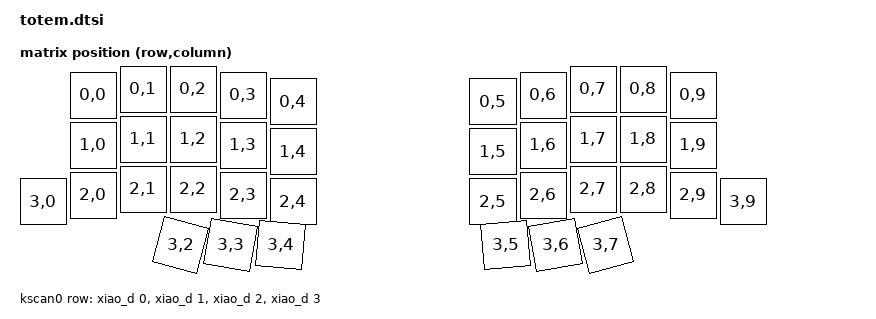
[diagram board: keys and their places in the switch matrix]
/*
 * Copyright (c) 2022 The ZMK Contributors
 *
 * SPDX-License-Identifier: MIT
 */

#include <dt-bindings/zmk/matrix_transform.h>
#include <physical_layouts.dtsi>

/ {
    chosen {
        zmk,kscan = &kscan0;
        zmk,physical-layout = &physical_layout0;
    };

    wired_split: wired_split {
        compatible = "zmk,wired-split";
        device = <&xiao_serial>;
        half-duplex;
    };

    default_transform: keymap_transform_0 {
        compatible = "zmk,matrix-transform";
        columns = <10>;
        rows = <4>;
//             | SW01  | SW02  | SW03  | SW04  | SW05  |  | SW05  | SW04  | SW03  | SW02  | SW01  |
//             | SW06  | SW07  | SW08  | SW09  | SW10  |  | SW10  | SW09  | SW08  | SW07  | SW06  | 
//      | SW16 | SW11  | SW12  | SW13  | SW14  | SW15  |  | SW15  | SW14  | SW13  | SW12  | SW11  | SW16  |
//                             | SW17  | SW18  | SW19  |  | SW19  | SW18  | SW17  | 
        map = <
                RC(0,0) RC(0,1) RC(0,2) RC(0,3) RC(0,4)    RC(0,5) RC(0,6) RC(0,7) RC(0,8) RC(0,9)
                RC(1,0) RC(1,1) RC(1,2) RC(1,3) RC(1,4)    RC(1,5) RC(1,6) RC(1,7) RC(1,8) RC(1,9)
        RC(3,0) RC(2,0) RC(2,1) RC(2,2) RC(2,3) RC(2,4)    RC(2,5) RC(2,6) RC(2,7) RC(2,8) RC(2,9) RC(3,9)
                                RC(3,2) RC(3,3) RC(3,4)    RC(3,5) RC(3,6) RC(3,7)         
        >;
    };

    /*
     * Physical layout for ZMK Studio support.
     * TOTEM 38-key layout with columnar stagger.
     * Coordinates in centi-units (100 = 1 key width).
     *
     *         0    1    2    3    4         5    6    7    8    9       (row 0)
     *        10   11   12   13   14       15   16   17   18   19       (row 1)
     *  20    21   22   23   24   25       26   27   28   29   30   31  (row 2)
     *                  32   33   34       35   36   37                  (row 3)
     */
    physical_layout0: physical_layout_0 {
        compatible = "zmk,physical-layout";
        display-name = "TOTEM";
        transform = <&default_transform>;
        kscan = <&kscan0>;

        keys  //                     w   h    x    y     rot    rx    ry
            // Row 0 left
            = <&key_physical_attrs 100 100  100   12       0     0     0>
            , <&key_physical_attrs 100 100  200    0       0     0     0>
            , <&key_physical_attrs 100 100  300    0       0     0     0>
            , <&key_physical_attrs 100 100  400   12       0     0     0>
            , <&key_physical_attrs 100 100  500   25       0     0     0>
            // Row 0 right
            , <&key_physical_attrs 100 100  900   25       0     0     0>
            , <&key_physical_attrs 100 100 1000   12       0     0     0>
            , <&key_physical_attrs 100 100 1100    0       0     0     0>
            , <&key_physical_attrs 100 100 1200    0       0     0     0>
            , <&key_physical_attrs 100 100 1300   12       0     0     0>
            // Row 1 left
            , <&key_physical_attrs 100 100  100  112       0     0     0>
            , <&key_physical_attrs 100 100  200  100       0     0     0>
            , <&key_physical_attrs 100 100  300  100       0     0     0>
            , <&key_physical_attrs 100 100  400  112       0     0     0>
            , <&key_physical_attrs 100 100  500  125       0     0     0>
            // Row 1 right
            , <&key_physical_attrs 100 100  900  125       0     0     0>
            , <&key_physical_attrs 100 100 1000  112       0     0     0>
            , <&key_physical_attrs 100 100 1100  100       0     0     0>
            , <&key_physical_attrs 100 100 1200  100       0     0     0>
            , <&key_physical_attrs 100 100 1300  112       0     0     0>
            // Row 2 left (LX0 + 5 keys)
            , <&key_physical_attrs 100 100    0  225       0     0     0>
            , <&key_physical_attrs 100 100  100  212       0     0     0>
            , <&key_physical_attrs 100 100  200  200       0     0     0>
            , <&key_physical_attrs 100 100  300  200       0     0     0>
            , <&key_physical_attrs 100 100  400  212       0     0     0>
            , <&key_physical_attrs 100 100  500  225       0     0     0>
            // Row 2 right (5 keys + RX0)
            , <&key_physical_attrs 100 100  900  225       0     0     0>
            , <&key_physical_attrs 100 100 1000  212       0     0     0>
            , <&key_physical_attrs 100 100 1100  200       0     0     0>
            , <&key_physical_attrs 100 100 1200  200       0     0     0>
            , <&key_physical_attrs 100 100 1300  212       0     0     0>
            , <&key_physical_attrs 100 100 1400  225       0     0     0>
            // Row 3 left (thumb cluster)
            , <&key_physical_attrs 100 100  275  312    1500   325   362>
            , <&key_physical_attrs 100 100  375  312    1000   425   362>
            , <&key_physical_attrs 100 100  475  312     500   525   362>
            // Row 3 right (thumb cluster)
            , <&key_physical_attrs 100 100  925  312  (-500)   975   362>
            , <&key_physical_attrs 100 100 1025  312 (-1000)  1075   362>
            , <&key_physical_attrs 100 100 1125  312 (-1500)  1175   362>
            ;
    };


    kscan0: kscan_0 {
        compatible = "zmk,kscan-gpio-matrix";
        
        diode-direction = "col2row"; 
        row-gpios
            = <&xiao_d 0 (GPIO_ACTIVE_HIGH | GPIO_PULL_DOWN)>
            , <&xiao_d 1 (GPIO_ACTIVE_HIGH | GPIO_PULL_DOWN)>
            , <&xiao_d 2 (GPIO_ACTIVE_HIGH | GPIO_PULL_DOWN)>
            , <&xiao_d 3 (GPIO_ACTIVE_HIGH | GPIO_PULL_DOWN)>
            ;
    };
};
